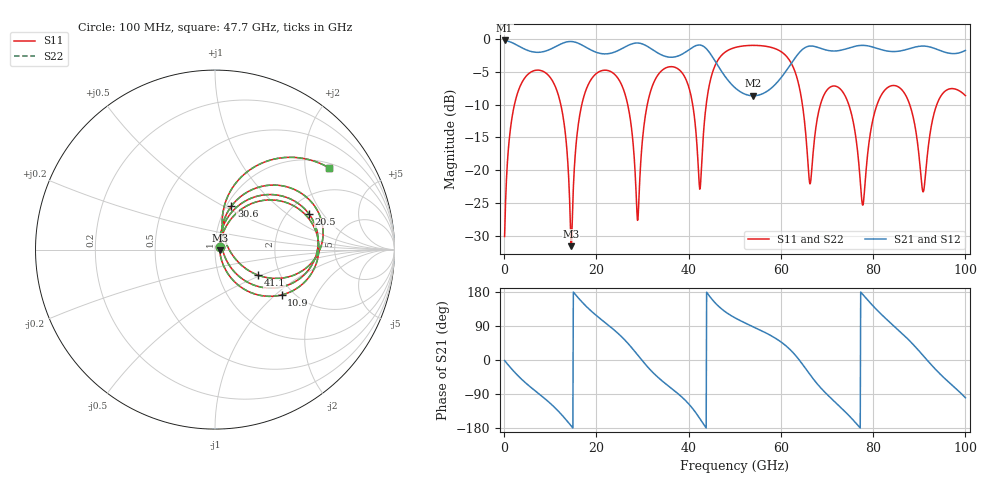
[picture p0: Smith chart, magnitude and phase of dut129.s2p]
! Touchstone file exported from HFSS 2026.1.0
!  File:  C:/ffzhzh/LocalFiles/Ansys_Project_Files/temp_train_TSV_RDL_129_1783639217_26216.aedt
!  Generated:  07:48:10 AM Jul 10, 2026
!  Design:  TSV_RDL
!  Project:  temp_train_TSV_RDL_129_1783639217_26216
! Variables:
!  h_bsmrdl = 2.61um
!  h_ox = 20um
!  h_rdl = 5um
!  h_sub = 91.82um
!  h_tmrdl = 2.45um
!  h_tsv = 91.82um
!  h_via = 3um
!  l_bsmrdl = 211.23um
!  l_sub = 3840.28um
!  l_tmrdl = 665.46um
!  m_sub = 200um
!  pitch = 51.41um
!  r_tsv = 5.08um
!  s_tmrdl = 10um
!  w_bsmrdl = 29.64um
!  w_sub = 500um
!  w_tmrdl = 18.61um
!  x_tsv_center1 = 674.765um
!  x_tsv_center2 = 915.635um
!  x_tsv_center3 = 1599.705um
!  x_tsv_center4 = 1840.575um
!  x_tsv_center5 = 2524.645um
!  x_tsv_center6 = 2765.515um
# GHz S MA R 50.000000
! Terminal data exported
! Port[1] = TM_RDL1_1_T1
! Port[2] = TM_RDL5_1_T1
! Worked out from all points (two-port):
!   1000 points, 100 MHz to 100 GHz, reference 50 ohm
!   highest |S21| = -0.24 dB at 100 MHz (marker M1); lowest = -8.7 dB at 54 GHz (marker M2)
!   |S21| within 3 dB of the highest: start of sweep to 45.61 GHz; 62.73 GHz to end of sweep
!   lowest |S11| = -31.6 dB at 14.5 GHz (marker M3), VSWR 1.05, Z = 52.7 - j0.517 ohm
!   |S11| at or under -10 dB: 12.28 GHz to 16.83 GHz (4.553 GHz wide, 31.3 % of centre); 74.71 GHz to 80.85 GHz (6.138 GHz wide, 7.89 % of centre); 87.93 GHz to 93.8 GHz (5.87 GHz wide, 6.46 % of centre) (the widest 3 of 7)
!   |S22| runs from -31.6 to -1.0 dB; largest |S21 - S12| = 2.8e-12
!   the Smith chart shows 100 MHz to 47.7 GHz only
!   S11 on the Smith chart (normalised r, x): 100 MHz: 1.05, +0.03; 10.9 GHz: 1.74, -1.10; 20.5 GHz: 2.60, +1.49; 30.6 GHz: 1.06, +0.55; 41.1 GHz: 1.54, -0.48; 47.7 GHz: 1.14, +2.69
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0.1  0.03133 30.4  0.9733 -1.5  0.9733 -1.5  0.03133 30.4
! Gamma 0 0 0 0
! Port Impedance 50 0 50 0
3.2  0.4141 42.0  0.8803 -43.9  0.8803 -43.9  0.4141 42.0
10.9  0.4492 -34.2  0.864 -124.6  0.864 -124.6  0.4493 -34.2
14.5  0.02645 -10.7  0.9555 -173.4  0.9555 -173.4  0.02626 -10.9
16.8  0.3125 58.7  0.9008 154.1  0.9008 154.1  0.3125 58.7
20.5  0.5609 20.5  0.7806 112.3  0.7806 112.3  0.5609 20.5
26.2  0.3809 -34.3  0.868 52.3  0.868 52.3  0.3809 -34.4
28.9  0.04159 3.2  0.931 13.9  0.931 13.9  0.04145 3.2
30.6  0.259 69.3  0.8953 -11.2  0.8953 -11.2  0.2589 69.3
33.4  0.5352 40.6  0.7782 -46.2  0.7782 -46.2  0.5352 40.6
41.1  0.2798 -30.6  0.8731 -131.8  0.8731 -131.8  0.2797 -30.7
42.5  0.07272 32.9  0.8982 -155.9  0.8982 -155.9  0.07232 32.9
47.7  0.7828 35.5  0.5298 129.5  0.5298 129.5  0.7827 35.5
50.1  0.8608 18.6  0.4234 110.9  0.4234 110.9  0.8608 18.6
54  0.893 -2.7  0.369 87.6  0.369 87.6  0.893 -2.8
61.9  0.685 -55.9  0.6244 28.6  0.6244 28.6  0.6849 -55.9
66.7  0.1021 -1.9  0.8826 -45.0  0.8826 -45.0  0.1022 -2.0
70.9  0.4337 -13.1  0.8105 -101.3  0.8105 -101.3  0.4337 -13.2
76.5  0.1526 -60.8  0.8855 -169.7  0.8855 -169.7  0.1526 -60.8
83.4  0.4322 9.9  0.8053 102.0  0.8053 102.0  0.4323 9.9
91.5  0.1061 45.5  0.8793 2.5  0.8793 2.5  0.1058 45.6
100  0.3702 -4.9  0.8179 -99.7  0.8179 -99.7  0.3703 -4.9
